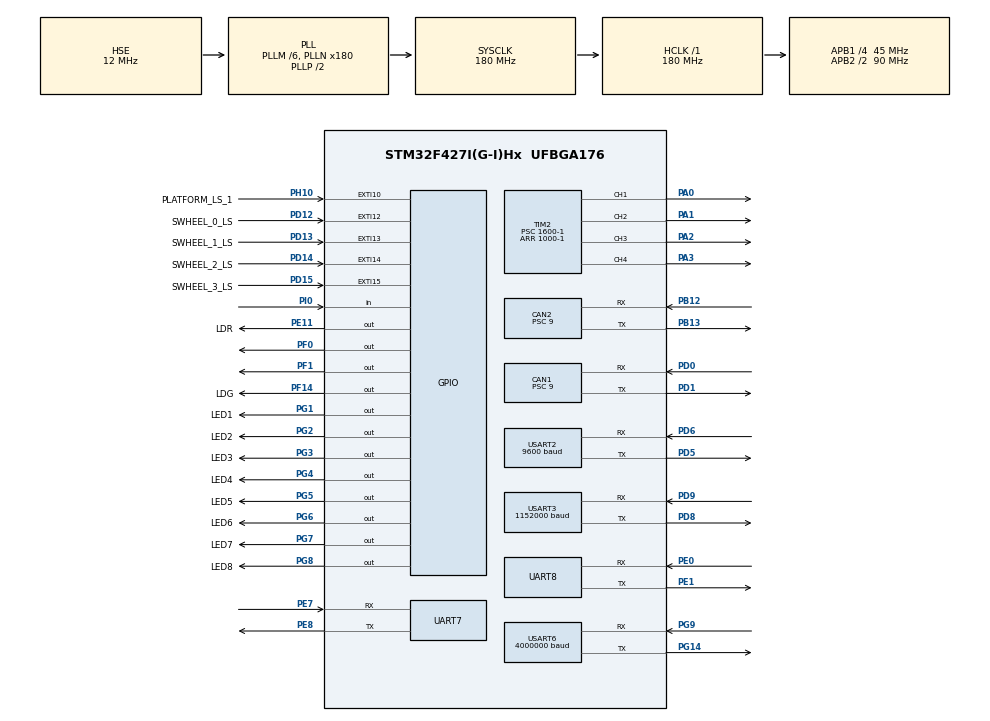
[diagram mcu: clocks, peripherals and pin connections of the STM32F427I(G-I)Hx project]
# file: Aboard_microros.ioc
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CAN1.ABOM=DISABLE
CAN1.AWUM=DISABLE
CAN1.BS1=CAN_BS1_3TQ
CAN1.BS2=CAN_BS2_1TQ
CAN1.CalculateBaudRate=1000000
CAN1.CalculateTimeBit=1000
CAN1.CalculateTimeQuantum=200.0
CAN1.Mode=CAN_MODE_NORMAL
CAN1.NART=DISABLE
CAN1.Prescaler=9
CAN1.RFLM=DISABLE
CAN1.SJW=CAN_SJW_1TQ
CAN1.TTCM=DISABLE
CAN1.TXFP=DISABLE
CAN2.BS1=CAN_BS1_3TQ
CAN2.CalculateBaudRate=1000000
CAN2.CalculateTimeBit=1000
CAN2.CalculateTimeQuantum=200.0
CAN2.Prescaler=9
Dma.Request0=USART6_RX
Dma.Request1=USART3_RX
Dma.Request2=USART3_TX
Dma.Request3=UART8_RX
Dma.UART8_RX.3.Direction=DMA_PERIPH_TO_MEMORY
Dma.UART8_RX.3.FIFOMode=DMA_FIFOMODE_DISABLE
Dma.UART8_RX.3.Instance=DMA1_Stream6
Dma.UART8_RX.3.MemDataAlignment=DMA_MDATAALIGN_BYTE
Dma.UART8_RX.3.MemInc=DMA_MINC_ENABLE
Dma.UART8_RX.3.Mode=DMA_NORMAL
Dma.UART8_RX.3.PeriphDataAlignment=DMA_PDATAALIGN_BYTE
Dma.UART8_RX.3.PeriphInc=DMA_PINC_DISABLE
Dma.UART8_RX.3.Priority=DMA_PRIORITY_VERY_HIGH
Dma.USART3_RX.1.Direction=DMA_PERIPH_TO_MEMORY
Dma.USART3_RX.1.FIFOMode=DMA_FIFOMODE_DISABLE
Dma.USART3_RX.1.Instance=DMA1_Stream1
Dma.USART3_RX.1.MemDataAlignment=DMA_MDATAALIGN_BYTE
Dma.USART3_RX.1.MemInc=DMA_MINC_ENABLE
Dma.USART3_RX.1.Mode=DMA_CIRCULAR
Dma.USART3_RX.1.PeriphDataAlignment=DMA_PDATAALIGN_BYTE
Dma.USART3_RX.1.PeriphInc=DMA_PINC_DISABLE
Dma.USART3_RX.1.Priority=DMA_PRIORITY_HIGH
Dma.USART3_TX.2.Direction=DMA_MEMORY_TO_PERIPH
Dma.USART3_TX.2.FIFOMode=DMA_FIFOMODE_DISABLE
Dma.USART3_TX.2.Instance=DMA1_Stream3
Dma.USART3_TX.2.MemDataAlignment=DMA_MDATAALIGN_BYTE
Dma.USART3_TX.2.MemInc=DMA_MINC_ENABLE
Dma.USART3_TX.2.Mode=DMA_NORMAL
Dma.USART3_TX.2.PeriphDataAlignment=DMA_PDATAALIGN_BYTE
Dma.USART3_TX.2.PeriphInc=DMA_PINC_DISABLE
Dma.USART3_TX.2.Priority=DMA_PRIORITY_HIGH
Dma.USART6_RX.0.Direction=DMA_PERIPH_TO_MEMORY
Dma.USART6_RX.0.FIFOMode=DMA_FIFOMODE_DISABLE
Dma.USART6_RX.0.Instance=DMA2_Stream1
Dma.USART6_RX.0.MemDataAlignment=DMA_MDATAALIGN_BYTE
Dma.USART6_RX.0.MemInc=DMA_MINC_ENABLE
Dma.USART6_RX.0.Mode=DMA_NORMAL
Dma.USART6_RX.0.PeriphDataAlignment=DMA_PDATAALIGN_BYTE
Dma.USART6_RX.0.PeriphInc=DMA_PINC_DISABLE
Dma.USART6_RX.0.Priority=DMA_PRIORITY_HIGH
FREERTOS.HEAP_NUMBER=4
FREERTOS.Tasks01=nullTask,40,128,StartNullTask,Default,NULL,Dynamic,NULL,NULL
FREERTOS.configENABLE_FPU=1
FREERTOS.configTOTAL_HEAP_SIZE=30720
FREERTOS.configUSE_NEWLIB_REENTRANT=1
Mcu.Family=STM32F4
Mcu.Name=STM32F427I(G-I)Hx
Mcu.Package=UFBGA176
NVIC.CAN1_RX0_IRQn=true\:5\:0\:false\:false\:true\:true\:true\:true\:true
NVIC.CAN2_RX0_IRQn=true\:5\:0\:false\:false\:true\:true\:true\:true\:true
NVIC.DMA1_Stream1_IRQn=true\:5\:0\:true\:false\:true\:true\:false\:true\:true
NVIC.DMA1_Stream3_IRQn=true\:5\:0\:true\:false\:true\:true\:false\:true\:true
NVIC.DMA1_Stream6_IRQn=true\:5\:0\:false\:false\:true\:true\:false\:true\:true
NVIC.DMA2_Stream1_IRQn=true\:5\:0\:true\:false\:true\:true\:false\:true\:true
NVIC.EXTI15_10_IRQn=true\:5\:0\:true\:false\:true\:true\:true\:true\:true
NVIC.PriorityGroup=NVIC_PRIORITYGROUP_4
NVIC.TIM1_TRG_COM_TIM11_IRQn=true\:5\:0\:false\:false\:true\:true\:true\:true\:true
NVIC.TIM1_UP_TIM10_IRQn=true\:15\:0\:false\:false\:true\:false\:false\:true\:true
NVIC.TimeBase=TIM1_UP_TIM10_IRQn
NVIC.TimeBaseIP=TIM1
NVIC.UART8_IRQn=true\:5\:0\:true\:false\:true\:true\:true\:true\:true
NVIC.USART2_IRQn=true\:5\:0\:false\:false\:true\:true\:true\:true\:true
NVIC.USART3_IRQn=true\:5\:0\:true\:false\:true\:true\:true\:true\:true
NVIC.USART6_IRQn=true\:5\:0\:false\:false\:true\:true\:true\:true\:true
PA0/WKUP.Signal=S_TIM2_CH1_ETR
PA1.Signal=S_TIM2_CH2
PA13.Mode=Serial_Wire
PA13.Signal=SYS_JTMS-SWDIO
PA14.Mode=Serial_Wire
PA14.Signal=SYS_JTCK-SWCLK
PA2.Signal=S_TIM2_CH3
PA3.Signal=S_TIM2_CH4
PB12.Mode=CAN_Activate
PB12.Signal=CAN2_RX
PB13.Mode=CAN_Activate
PB13.Signal=CAN2_TX
PC14/OSC32_IN.Mode=LSE-External-Clock-Source
PC14/OSC32_IN.Signal=RCC_OSC32_IN
PC15/OSC32_OUT.Mode=LSE-External-Clock-Source
PC15/OSC32_OUT.Signal=RCC_OSC32_OUT
PD0.Mode=CAN_Activate
PD0.Signal=CAN1_RX
PD1.Mode=CAN_Activate
PD1.Signal=CAN1_TX
PD12.GPIO_Label=SWHEEL_0_LS
PD12.GPIO_PuPd=GPIO_PULLDOWN
PD12.Signal=GPXTI12
PD13.GPIO_Label=SWHEEL_1_LS
PD13.GPIO_PuPd=GPIO_PULLDOWN
PD13.Signal=GPXTI13
PD14.GPIO_Label=SWHEEL_2_LS
PD14.GPIO_PuPd=GPIO_PULLDOWN
PD14.Signal=GPXTI14
PD15.GPIO_Label=SWHEEL_3_LS
PD15.GPIO_ModeDefaultEXTI=GPIO_MODE_IT_RISING
PD15.GPIO_PuPd=GPIO_PULLDOWN
PD15.Signal=GPXTI15
PD5.Mode=Asynchronous
PD5.Signal=USART2_TX
PD6.Mode=Asynchronous
PD6.Signal=USART2_RX
PD8.Mode=Asynchronous
PD8.Signal=USART3_TX
PD9.Mode=Asynchronous
PD9.Signal=USART3_RX
PE0.Mode=Asynchronous
PE0.Signal=UART8_RX
PE1.Mode=Asynchronous
PE1.Signal=UART8_TX
PE11.GPIO_Label=LDR
PE11.PinState=GPIO_PIN_SET
PE11.Signal=GPIO_Output
PE7.Mode=Asynchronous
PE7.Signal=UART7_RX
PE8.Mode=Asynchronous
PE8.Signal=UART7_TX
PF0.PinState=GPIO_PIN_RESET
PF0.Signal=GPIO_Output
PF1.PinState=GPIO_PIN_RESET
PF1.Signal=GPIO_Output
PF14.GPIO_Label=LDG
PF14.PinState=GPIO_PIN_SET
PF14.Signal=GPIO_Output
PG1.GPIO_Label=LED1
PG1.PinState=GPIO_PIN_SET
PG1.Signal=GPIO_Output
PG14.Mode=Asynchronous
PG14.Signal=USART6_TX
PG2.GPIO_Label=LED2
PG2.PinState=GPIO_PIN_SET
PG2.Signal=GPIO_Output
PG3.GPIO_Label=LED3
PG3.PinState=GPIO_PIN_SET
PG3.Signal=GPIO_Output
PG4.GPIO_Label=LED4
PG4.PinState=GPIO_PIN_SET
PG4.Signal=GPIO_Output
PG5.GPIO_Label=LED5
PG5.PinState=GPIO_PIN_SET
PG5.Signal=GPIO_Output
PG6.GPIO_Label=LED6
PG6.PinState=GPIO_PIN_SET
PG6.Signal=GPIO_Output
PG7.GPIO_Label=LED7
PG7.PinState=GPIO_PIN_SET
PG7.Signal=GPIO_Output
PG8.GPIO_Label=LED8
PG8.PinState=GPIO_PIN_SET
PG8.Signal=GPIO_Output
PG9.Mode=Asynchronous
PG9.Signal=USART6_RX
PH0/OSC_IN.Mode=HSE-External-Oscillator
PH0/OSC_IN.Signal=RCC_OSC_IN
PH1/OSC_OUT.Mode=HSE-External-Oscillator
PH1/OSC_OUT.Signal=RCC_OSC_OUT
PH10.GPIO_Label=PLATFORM_LS_1
PH10.GPIO_PuPd=GPIO_PULLDOWN
PH10.Signal=GPXTI10
PI0.GPIO_PuPd=GPIO_PULLDOWN
PI0.Signal=GPIO_Input
ProjectManager.HeapSize=0x200
ProjectManager.StackSize=0x400
ProjectManager.TargetToolchain=Makefile
RCC.48MHZClocksFreq_Value=51428571.428571425
RCC.AHBFreq_Value=180000000
RCC.APB1CLKDivider=RCC_HCLK_DIV4
RCC.APB1Freq_Value=45000000
RCC.APB1TimFreq_Value=90000000
RCC.APB2CLKDivider=RCC_HCLK_DIV2
RCC.APB2Freq_Value=90000000
RCC.APB2TimFreq_Value=180000000
RCC.CortexFreq_Value=180000000
RCC.FLatency=FLASH_LATENCY_5
RCC.HCLKFreq_Value=180000000
RCC.HSE_VALUE=12000000
RCC.HSI_VALUE=16000000
RCC.LSE_VALUE=32768
RCC.PLLM=6
RCC.PLLN=180
RCC.PLLQ=7
RCC.PLLSourceVirtual=RCC_PLLSOURCE_HSE
RCC.PWREXT_OverDrive=PWREXT_OverDrive_ACTIVATED
RCC.PWR_Regulator_Voltage_Scale=PWR_REGULATOR_VOLTAGE_SCALE1
RCC.SYSCLKFreq_VALUE=180000000
RCC.SYSCLKSource=RCC_SYSCLKSOURCE_PLLCLK
RCC.VCOOutputFreq_Value=360000000
SH.S_TIM2_CH1_ETR.0=TIM2_CH1,PWM Generation1 CH1
SH.S_TIM2_CH2.0=TIM2_CH2,PWM Generation2 CH2
SH.S_TIM2_CH3.0=TIM2_CH3,PWM Generation3 CH3
SH.S_TIM2_CH4.0=TIM2_CH4,PWM Generation4 CH4
STMicroelectronics.X-CUBE-ALGOBUILD.1.3.0.LibraryCcDSPOoLibraryJjDSPOoLibrary=true
TIM11.AutoReloadPreload=TIM_AUTORELOAD_PRELOAD_ENABLE
TIM11.Period=50
TIM11.Prescaler=180
TIM2.Channel-PWM\ Generation1\ CH1=TIM_CHANNEL_1
TIM2.Channel-PWM\ Generation2\ CH2=TIM_CHANNEL_2
TIM2.Channel-PWM\ Generation3\ CH3=TIM_CHANNEL_3
TIM2.Channel-PWM\ Generation4\ CH4=TIM_CHANNEL_4
TIM2.Period=1000-1
TIM2.Prescaler=1600-1
UART7.VirtualMode=Asynchronous
UART8.VirtualMode=Asynchronous
USART2.BaudRate=9600
USART2.VirtualMode=VM_ASYNC
USART3.BaudRate=1152000
USART3.VirtualMode=VM_ASYNC
USART6.BaudRate=4000000
USART6.VirtualMode=VM_ASYNC
VP_FREERTOS_VS_CMSIS_V2.Mode=CMSIS_V2
VP_STMicroelectronics.X-CUBE-ALGOBUILD_VS_DSPOoLibraryJjLibrary_1.3.0_1.3.0.Mode=DSPOoLibraryJjLibrary
VP_SYS_VS_tim1.Mode=TIM1
VP_TIM11_VS_ClockSourceINT.Mode=Enable_Timer
VP_TIM2_VS_ClockSourceINT.Mode=Internal
board=custom

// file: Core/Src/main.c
/* USER CODE BEGIN Header */
/**
  ******************************************************************************
  * @file           : main.c
  * @brief          : Main program body
  ******************************************************************************
  * @attention
  *
  * Copyright (c) 2023 STMicroelectronics.
  * All rights reserved.
  *
  * This software is licensed under terms that can be found in the LICENSE file
  * in the root directory of this software component.
  * If no LICENSE file comes with this software, it is provided AS-IS.
  *
  ******************************************************************************
  */
/* USER CODE END Header */
#include "main.h"
#include "cmsis_os.h"
#include "can.h"
#include "dma.h"
#include "tim.h"
#include "usart.h"
#include "gpio.h"

/* USER CODE BEGIN Includes */
#include "_startup.h"
#include "semphr.h"
/* USER CODE END Includes */

void SystemClock_Config(void);
void MX_FREERTOS_Init(void);

int main(void)
{

  /* MCU Configuration--------------------------------------------------------*/

  /* Reset of all peripherals, Initializes the Flash interface and the Systick. */
  HAL_Init();

  /* Configure the system clock */
  SystemClock_Config();

  /* Initialize all configured peripherals */
  MX_GPIO_Init();
  MX_DMA_Init();
  MX_CAN1_Init();
  MX_USART6_UART_Init();
  MX_TIM2_Init();
  MX_UART8_Init();
  MX_UART7_Init();
  MX_USART3_UART_Init();
  MX_USART2_UART_Init();
  MX_CAN2_Init();
  MX_TIM11_Init();
  /* USER CODE BEGIN 2 */
  //HAL_TIM_Base_Start_IT(&htim11);
  StartUp();
  //MY_GPIO_Init();
  /* USER CODE END 2 */

  /* Init scheduler */
  osKernelInitialize();

  /* Call init function for freertos objects (in freertos.c) */
  MX_FREERTOS_Init();

  /* Start scheduler */
  osKernelStart();

  /* We should never get here as control is now taken by the scheduler */
  /* Infinite loop */
  while (1)
  {

  }
}

void SystemClock_Config(void)
{
  RCC_OscInitTypeDef RCC_OscInitStruct = {0};
  RCC_ClkInitTypeDef RCC_ClkInitStruct = {0};

  /** Configure the main internal regulator output voltage
  */
  __HAL_RCC_PWR_CLK_ENABLE();
  __HAL_PWR_VOLTAGESCALING_CONFIG(PWR_REGULATOR_VOLTAGE_SCALE1);

  /** Initializes the RCC Oscillators according to the specified parameters
  * in the RCC_OscInitTypeDef structure.
  */
  RCC_OscInitStruct.OscillatorType = RCC_OSCILLATORTYPE_HSE;
  RCC_OscInitStruct.HSEState = RCC_HSE_ON;
  RCC_OscInitStruct.PLL.PLLState = RCC_PLL_ON;
  RCC_OscInitStruct.PLL.PLLSource = RCC_PLLSOURCE_HSE;
  RCC_OscInitStruct.PLL.PLLM = 6;
  RCC_OscInitStruct.PLL.PLLN = 180;
  RCC_OscInitStruct.PLL.PLLP = RCC_PLLP_DIV2;
  RCC_OscInitStruct.PLL.PLLQ = 7;
  if (HAL_RCC_OscConfig(&RCC_OscInitStruct) != HAL_OK)
  {
    Error_Handler();
  }

  /** Activate the Over-Drive mode
  */
  if (HAL_PWREx_EnableOverDrive() != HAL_OK)
  {
    Error_Handler();
  }

  /** Initializes the CPU, AHB and APB buses clocks
  */
  RCC_ClkInitStruct.ClockType = RCC_CLOCKTYPE_HCLK|RCC_CLOCKTYPE_SYSCLK
                              |RCC_CLOCKTYPE_PCLK1|RCC_CLOCKTYPE_PCLK2;
  RCC_ClkInitStruct.SYSCLKSource = RCC_SYSCLKSOURCE_PLLCLK;
  RCC_ClkInitStruct.AHBCLKDivider = RCC_SYSCLK_DIV1;
  RCC_ClkInitStruct.APB1CLKDivider = RCC_HCLK_DIV4;
  RCC_ClkInitStruct.APB2CLKDivider = RCC_HCLK_DIV2;

  if (HAL_RCC_ClockConfig(&RCC_ClkInitStruct, FLASH_LATENCY_5) != HAL_OK)
  {
    Error_Handler();
  }
}

void HAL_TIM_PeriodElapsedCallback(TIM_HandleTypeDef *htim)
{
  /* USER CODE BEGIN Callback 0 */
  if (htim->Instance == TIM11) {
      FreeRTOSRunTimeTicks++;
    }
  /* USER CODE END Callback 0 */
  if (htim->Instance == TIM1) {
    HAL_IncTick();
  }

}

void Error_Handler(void)
{
  __disable_irq();
  while (1)
  {
  }
}

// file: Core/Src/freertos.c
/* USER CODE BEGIN Header */
/**
  ******************************************************************************
  * File Name          : freertos.c
  * Description        : Code for freertos applications
  ******************************************************************************
  * @attention
  *
  * Copyright (c) 2023 STMicroelectronics.
  * All rights reserved.
  *
  * This software is licensed under terms that can be found in the LICENSE file
  * in the root directory of this software component.
  * If no LICENSE file comes with this software, it is provided AS-IS.
  *
  ******************************************************************************
  */
/* USER CODE END Header */

#include "FreeRTOS.h"
#include "task.h"
#include "main.h"
#include "cmsis_os.h"

/* USER CODE BEGIN Includes */
#include "semphr.h"
#include "event_groups.h"

#include "_chassis_thread.h"
#include "_micro_ros_thread.h"
/* USER CODE END Includes */

/* USER CODE BEGIN Variables */

xTaskHandle upControlTaskHandle;
xTaskHandle microrosTaskHandle;
xTaskHandle chassisTaskHandle;

SemaphoreHandle_t sync_mutex;
SemaphoreHandle_t data_mutex;
/* USER CODE END Variables */
/* Definitions for nullTask */
osThreadId_t nullTaskHandle;
const osThreadAttr_t nullTask_attributes = {
  .name = "nullTask",
  .stack_size = 128 * 4,
  .priority = (osPriority_t) osPriorityHigh,
};

void StartNullTask(void *argument);

void MX_FREERTOS_Init(void); /* (MISRA C 2004 rule 8.1) */

void MX_FREERTOS_Init(void) {

  /* USER CODE BEGIN RTOS_SEMAPHORES */
  /* add semaphores, ... */

    //sync_mutex = xSemaphoreCreateBinary();
    data_mutex = xSemaphoreCreateMutex();
  /* USER CODE END RTOS_SEMAPHORES */

  /* Create the thread(s) */
  /* creation of nullTask */
  nullTaskHandle = osThreadNew(StartNullTask, NULL, &nullTask_attributes);

  /* USER CODE BEGIN RTOS_THREADS */
  /* add threads, ... */

if(xTaskCreate(StartMicrorosTask,"micro ros",3000,NULL,1,&microrosTaskHandle)!=pdPASS)
{
    while(1);
}
if(xTaskCreate(StartChassisTask,"chassis task",512,NULL,5,&chassisTaskHandle)!=pdPASS)
{
    while (1);
}

  /* USER CODE END RTOS_THREADS */

}

void StartNullTask(void *argument)
{
  /* USER CODE BEGIN StartNullTask */
  /* Infinite loop */
  vTaskDelete(NULL);
  /* USER CODE END StartNullTask */
}
